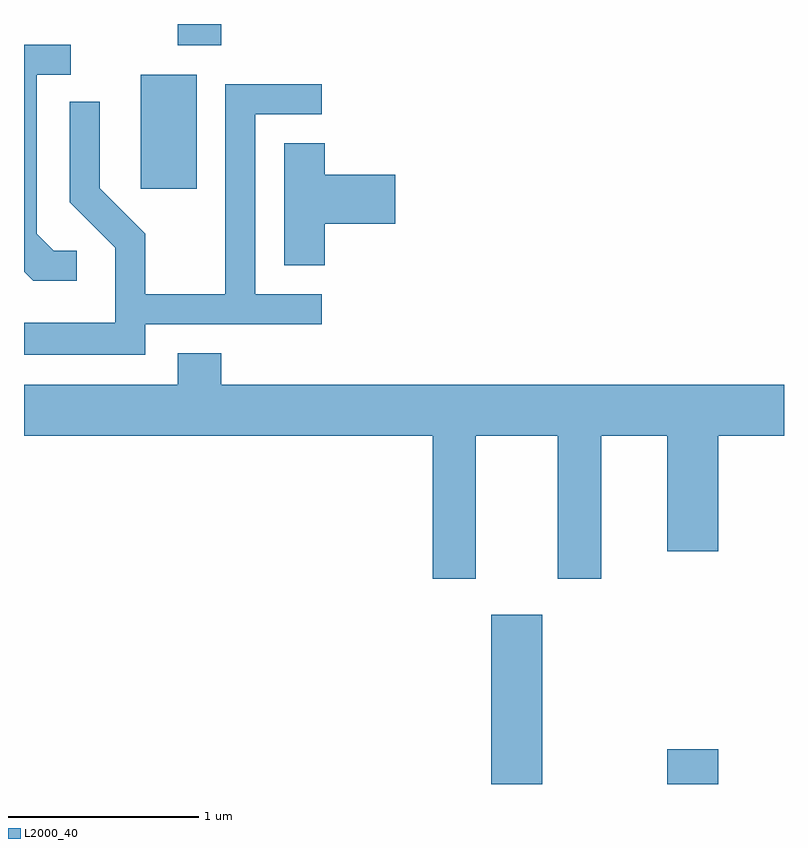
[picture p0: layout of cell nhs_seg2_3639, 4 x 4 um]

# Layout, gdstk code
import gdstk
lib = gdstk.Library(unit=1e-6, precision=1e-09)
def R(c, l, rs):  # rectangles x0, y0, x1, y1
    for r in rs: c.add(gdstk.rectangle(r[:2], r[2:], *l))
def P(c, l, *ps):  # polygons
    for p in ps: c.add(gdstk.Polygon(p, *l))
L2000_40 = (2000, 40)

nhs_seg2_3639 = lib.new_cell('nhs_seg2_3639')
R(nhs_seg2_3639, L2000_40, [(294.071,1059.802,294.339,1060.694), (294.996,1059.802,295.264,1059.984), (292.226,1062.936,292.519,1063.534), (292.421,1063.691,292.649,1063.802)])
P(nhs_seg2_3639, L2000_40, [(291.888,1062.609),(291.767,1062.609),(291.679,1062.697),(291.679,1063.536),(291.858,1063.536),(291.858,1063.694),(291.611,1063.694),(291.611,1062.499),(291.659,1062.451),(291.888,1062.451)],
  [(292.249,1062.221),(293.178,1062.221),(293.178,1062.379),(292.829,1062.379),(292.829,1063.326),(293.178,1063.326),(293.178,1063.484),(292.671,1063.484),(292.671,1062.379),(292.249,1062.379),(292.249,1062.697),(292.009,1062.937),(292.009,1063.393),(291.851,1063.393),(291.851,1062.864),(292.091,1062.624),(292.091,1062.229),(291.611,1062.229),(291.611,1062.061),(292.249,1062.061)],
  [(293.194,1062.751),(293.564,1062.751),(293.564,1063.009),(293.194,1063.009),(293.194,1063.174),(292.981,1063.174),(292.981,1062.531),(293.194,1062.531)],
  [(293.989,1061.636),(294.421,1061.636),(294.421,1060.881),(294.649,1060.881),(294.649,1061.636),(294.996,1061.636),(294.996,1061.026),(295.264,1061.026),(295.264,1061.636),(295.611,1061.636),(295.611,1061.904),(292.649,1061.904),(292.649,1062.069),(292.421,1062.069),(292.421,1061.904),(291.611,1061.904),(291.611,1061.636),(293.761,1061.636),(293.761,1060.881),(293.989,1060.881)])

lib.write_gds('nhs_seg2_3639.gds')
